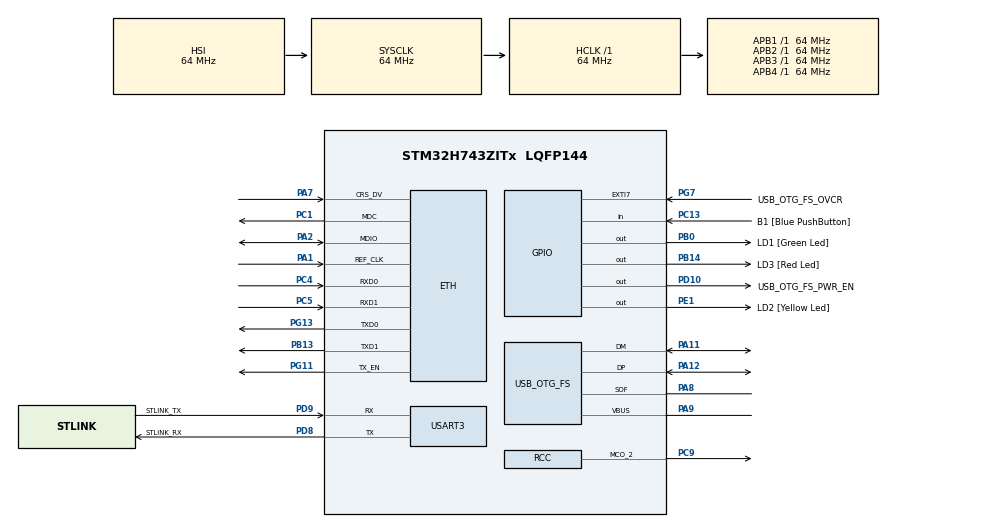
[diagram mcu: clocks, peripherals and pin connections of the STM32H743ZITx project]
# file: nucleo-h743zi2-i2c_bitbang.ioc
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ETH.MediaInterface=HAL_ETH_RMII_MODE
Mcu.Family=STM32H7
Mcu.Name=STM32H743ZITx
Mcu.Package=LQFP144
NVIC.PriorityGroup=NVIC_PRIORITYGROUP_4
PA1.Mode=RMII
PA1.Signal=ETH_REF_CLK
PA11.Mode=Device_Only
PA11.Signal=USB_OTG_FS_DM
PA12.Mode=Device_Only
PA12.Signal=USB_OTG_FS_DP
PA2.Mode=RMII
PA2.Signal=ETH_MDIO
PA7.Mode=RMII
PA7.Signal=ETH_CRS_DV
PA8.Mode=Activate_SOF_FS
PA8.Signal=USB_OTG_FS_SOF
PA9.Mode=Activate_VBUS
PA9.Signal=USB_OTG_FS_VBUS
PB0.GPIO_Label=LD1 [Green Led]
PB0.Signal=GPIO_Output
PB13.Mode=RMII
PB13.Signal=ETH_TXD1
PB14.GPIO_Label=LD3 [Red Led]
PB14.Signal=GPIO_Output
PC1.Mode=RMII
PC1.Signal=ETH_MDC
PC13.GPIO_Label=B1 [Blue PushButton]
PC13.Signal=GPIO_Input
PC14-OSC32_IN\ (OSC32_IN).Mode=LSE-External-Oscillator
PC14-OSC32_IN\ (OSC32_IN).Signal=RCC_OSC32_IN
PC15-OSC32_OUT\ (OSC32_OUT).Mode=LSE-External-Oscillator
PC15-OSC32_OUT\ (OSC32_OUT).Signal=RCC_OSC32_OUT
PC4.Mode=RMII
PC4.Signal=ETH_RXD0
PC5.Mode=RMII
PC5.Signal=ETH_RXD1
PC9.Mode=Clock-out-2
PC9.Signal=RCC_MCO_2
PD10.GPIO_Label=USB_OTG_FS_PWR_EN
PD10.Signal=GPIO_Output
PD8.GPIO_Label=STLINK_RX
PD8.Mode=Asynchronous
PD8.Signal=USART3_TX
PD9.GPIO_Label=STLINK_TX
PD9.Mode=Asynchronous
PD9.Signal=USART3_RX
PE1.GPIO_Label=LD2 [Yellow Led]
PE1.Signal=GPIO_Output
PG11.Mode=RMII
PG11.Signal=ETH_TX_EN
PG13.Mode=RMII
PG13.Signal=ETH_TXD0
PG7.GPIO_Label=USB_OTG_FS_OVCR
PG7.Signal=GPXTI7
PH0-OSC_IN\ (PH0).Mode=HSE-External-Clock-Source
PH0-OSC_IN\ (PH0).Signal=RCC_OSC_IN
PH1-OSC_OUT\ (PH1).Signal=RCC_OSC_OUT
ProjectManager.HeapSize=0x200
ProjectManager.StackSize=0x400
ProjectManager.TargetToolchain=STM32CubeIDE
RCC.ADCFreq_Value=16125000
RCC.APB1Freq_Value=64000000
RCC.APB2Freq_Value=64000000
RCC.APB3Freq_Value=64000000
RCC.APB4Freq_Value=64000000
RCC.CortexFreq_Value=64000000
RCC.DIVM1=1
RCC.DIVN1=24
RCC.DIVQ1=4
RCC.HCLKFreq_Value=64000000
RCC.HSE_VALUE=8000000
RCC.PLLFRACN=0
RCC.PWR_Regulator_Voltage_Scale=PWR_REGULATOR_VOLTAGE_SCALE2
RCC.RCC_MCO2Source=RCC_MCO2SOURCE_HSE
RCC.SYSCLKFreq_VALUE=64000000
RCC.USBFreq_Value=48000000
USART3.VirtualMode-Asynchronous=VM_ASYNC
USB_OTG_FS.VirtualMode=Device_Only
board=NUCLEO-H743ZI2

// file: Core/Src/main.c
/* USER CODE BEGIN Header */
/**
  ******************************************************************************
  * @file           : main.c
  * @brief          : Main program body
  ******************************************************************************
  * @attention
  *
  * <h2><center>&copy; Copyright (c) 2022 STMicroelectronics.
  * All rights reserved.</center></h2>
  *
  * This software component is licensed by ST under BSD 3-Clause license,
  * the "License"; You may not use this file except in compliance with the
  * License. You may obtain a copy of the License at:
  *                        opensource.org/licenses/BSD-3-Clause
  *
  ******************************************************************************
  */
/* USER CODE END Header */
#include "main.h"
#include "string.h"

/* USER CODE BEGIN Includes */
#include "i2c_bitbang.h"

/* USER CODE END Includes */

#if defined ( __ICCARM__ ) /*!< IAR Compiler */

#pragma location=0x30040000
ETH_DMADescTypeDef  DMARxDscrTab[ETH_RX_DESC_CNT]; /* Ethernet Rx DMA Descriptors */
#pragma location=0x30040060
ETH_DMADescTypeDef  DMATxDscrTab[ETH_TX_DESC_CNT]; /* Ethernet Tx DMA Descriptors */
#pragma location=0x30040200
uint8_t Rx_Buff[ETH_RX_DESC_CNT][ETH_MAX_PACKET_SIZE]; /* Ethernet Receive Buffers */

#elif defined ( __CC_ARM )  /* MDK ARM Compiler */

__attribute__((at(0x30040000))) ETH_DMADescTypeDef  DMARxDscrTab[ETH_RX_DESC_CNT]; /* Ethernet Rx DMA Descriptors */
__attribute__((at(0x30040060))) ETH_DMADescTypeDef  DMATxDscrTab[ETH_TX_DESC_CNT]; /* Ethernet Tx DMA Descriptors */
__attribute__((at(0x30040200))) uint8_t Rx_Buff[ETH_RX_DESC_CNT][ETH_MAX_PACKET_SIZE]; /* Ethernet Receive Buffer */

#elif defined ( __GNUC__ ) /* GNU Compiler */

ETH_DMADescTypeDef DMARxDscrTab[ETH_RX_DESC_CNT] __attribute__((section(".RxDecripSection"))); /* Ethernet Rx DMA Descriptors */
ETH_DMADescTypeDef DMATxDscrTab[ETH_TX_DESC_CNT] __attribute__((section(".TxDecripSection")));   /* Ethernet Tx DMA Descriptors */
uint8_t Rx_Buff[ETH_RX_DESC_CNT][ETH_MAX_PACKET_SIZE] __attribute__((section(".RxArraySection"))); /* Ethernet Receive Buffers */

#endif

ETH_TxPacketConfig TxConfig;

ETH_HandleTypeDef heth;

UART_HandleTypeDef huart3;

PCD_HandleTypeDef hpcd_USB_OTG_FS;

void SystemClock_Config(void);
static void MX_GPIO_Init(void);
static void MX_ETH_Init(void);
static void MX_USART3_UART_Init(void);
static void MX_USB_OTG_FS_PCD_Init(void);
/* USER CODE BEGIN PFP */
// ==================== uart => printf substitute =====================
#ifdef __GNUC__
/* With GCC, small printf (option LD Linker->Libraries->Small printf
   set to 'Yes') calls __io_putchar() */
#define PUTCHAR_PROTOTYPE int __io_putchar(int ch)
#define GETCHAR_PROTOTYPE int __io_getchar()
#else
#define PUTCHAR_PROTOTYPE int fputc(int ch, FILE *f)
#endif /* __GNUC__ */
// ============== end substitute =============

/* USER CODE END PFP */

int main(void)
{

  /* MCU Configuration--------------------------------------------------------*/

  /* Reset of all peripherals, Initializes the Flash interface and the Systick. */
  HAL_Init();

  /* Configure the system clock */
  SystemClock_Config();

  /* Initialize all configured peripherals */
  MX_GPIO_Init();
  MX_ETH_Init();
  MX_USART3_UART_Init();
  MX_USB_OTG_FS_PCD_Init();
  /* USER CODE BEGIN 2 */

  i2c_bitbang_init();

  printf("UART\n");

  /* USER CODE END 2 */

  /* Infinite loop */
  /* USER CODE BEGIN WHILE */
  while (1)
  {
	  // toggle_test();
	  uint8_t slaveAddress = 0x68;
	  uint8_t reg = 0x02;
	  uint8_t *data;
	  *data = 0x00;

	  read_reg(slaveAddress, reg, data);
	  printf("data: %X\n", reg, *data);
	  HAL_Delay(500);

    /* USER CODE END WHILE */

  }
}

void SystemClock_Config(void)
{
  RCC_OscInitTypeDef RCC_OscInitStruct = {0};
  RCC_ClkInitTypeDef RCC_ClkInitStruct = {0};

  /** Supply configuration update enable
  */
  HAL_PWREx_ConfigSupply(PWR_LDO_SUPPLY);
  /** Configure the main internal regulator output voltage
  */
  __HAL_PWR_VOLTAGESCALING_CONFIG(PWR_REGULATOR_VOLTAGE_SCALE2);

  while(!__HAL_PWR_GET_FLAG(PWR_FLAG_VOSRDY)) {}
  /** Initializes the RCC Oscillators according to the specified parameters
  * in the RCC_OscInitTypeDef structure.
  */
  RCC_OscInitStruct.OscillatorType = RCC_OSCILLATORTYPE_HSI|RCC_OSCILLATORTYPE_HSE;
  RCC_OscInitStruct.HSEState = RCC_HSE_BYPASS;
  RCC_OscInitStruct.HSIState = RCC_HSI_DIV1;
  RCC_OscInitStruct.HSICalibrationValue = RCC_HSICALIBRATION_DEFAULT;
  RCC_OscInitStruct.PLL.PLLState = RCC_PLL_ON;
  RCC_OscInitStruct.PLL.PLLSource = RCC_PLLSOURCE_HSE;
  RCC_OscInitStruct.PLL.PLLM = 1;
  RCC_OscInitStruct.PLL.PLLN = 24;
  RCC_OscInitStruct.PLL.PLLP = 2;
  RCC_OscInitStruct.PLL.PLLQ = 4;
  RCC_OscInitStruct.PLL.PLLR = 2;
  RCC_OscInitStruct.PLL.PLLRGE = RCC_PLL1VCIRANGE_3;
  RCC_OscInitStruct.PLL.PLLVCOSEL = RCC_PLL1VCOWIDE;
  RCC_OscInitStruct.PLL.PLLFRACN = 0;
  if (HAL_RCC_OscConfig(&RCC_OscInitStruct) != HAL_OK)
  {
    Error_Handler();
  }
  /** Initializes the CPU, AHB and APB buses clocks
  */
  RCC_ClkInitStruct.ClockType = RCC_CLOCKTYPE_HCLK|RCC_CLOCKTYPE_SYSCLK
                              |RCC_CLOCKTYPE_PCLK1|RCC_CLOCKTYPE_PCLK2
                              |RCC_CLOCKTYPE_D3PCLK1|RCC_CLOCKTYPE_D1PCLK1;
  RCC_ClkInitStruct.SYSCLKSource = RCC_SYSCLKSOURCE_HSI;
  RCC_ClkInitStruct.SYSCLKDivider = RCC_SYSCLK_DIV1;
  RCC_ClkInitStruct.AHBCLKDivider = RCC_HCLK_DIV1;
  RCC_ClkInitStruct.APB3CLKDivider = RCC_APB3_DIV1;
  RCC_ClkInitStruct.APB1CLKDivider = RCC_APB1_DIV1;
  RCC_ClkInitStruct.APB2CLKDivider = RCC_APB2_DIV1;
  RCC_ClkInitStruct.APB4CLKDivider = RCC_APB4_DIV1;

  if (HAL_RCC_ClockConfig(&RCC_ClkInitStruct, FLASH_LATENCY_1) != HAL_OK)
  {
    Error_Handler();
  }
  HAL_RCC_MCOConfig(RCC_MCO2, RCC_MCO2SOURCE_HSE, RCC_MCODIV_1);
}

static void MX_ETH_Init(void)
{

   static uint8_t MACAddr[6];

  heth.Instance = ETH;
  MACAddr[0] = 0x00;
  MACAddr[1] = 0x80;
  MACAddr[2] = 0xE1;
  MACAddr[3] = 0x00;
  MACAddr[4] = 0x00;
  MACAddr[5] = 0x00;
  heth.Init.MACAddr = &MACAddr[0];
  heth.Init.MediaInterface = HAL_ETH_RMII_MODE;
  heth.Init.TxDesc = DMATxDscrTab;
  heth.Init.RxDesc = DMARxDscrTab;
  heth.Init.RxBuffLen = 1524;

  if (HAL_ETH_Init(&heth) != HAL_OK)
  {
    Error_Handler();
  }

  memset(&TxConfig, 0 , sizeof(ETH_TxPacketConfig));
  TxConfig.Attributes = ETH_TX_PACKETS_FEATURES_CSUM | ETH_TX_PACKETS_FEATURES_CRCPAD;
  TxConfig.ChecksumCtrl = ETH_CHECKSUM_IPHDR_PAYLOAD_INSERT_PHDR_CALC;
  TxConfig.CRCPadCtrl = ETH_CRC_PAD_INSERT;

}

static void MX_USART3_UART_Init(void)
{

  huart3.Instance = USART3;
  huart3.Init.BaudRate = 115200;
  huart3.Init.WordLength = UART_WORDLENGTH_8B;
  huart3.Init.StopBits = UART_STOPBITS_1;
  huart3.Init.Parity = UART_PARITY_NONE;
  huart3.Init.Mode = UART_MODE_TX_RX;
  huart3.Init.HwFlowCtl = UART_HWCONTROL_NONE;
  huart3.Init.OverSampling = UART_OVERSAMPLING_16;
  huart3.Init.OneBitSampling = UART_ONE_BIT_SAMPLE_DISABLE;
  huart3.Init.ClockPrescaler = UART_PRESCALER_DIV1;
  huart3.AdvancedInit.AdvFeatureInit = UART_ADVFEATURE_NO_INIT;
  if (HAL_UART_Init(&huart3) != HAL_OK)
  {
    Error_Handler();
  }
  if (HAL_UARTEx_SetTxFifoThreshold(&huart3, UART_TXFIFO_THRESHOLD_1_8) != HAL_OK)
  {
    Error_Handler();
  }
  if (HAL_UARTEx_SetRxFifoThreshold(&huart3, UART_RXFIFO_THRESHOLD_1_8) != HAL_OK)
  {
    Error_Handler();
  }
  if (HAL_UARTEx_DisableFifoMode(&huart3) != HAL_OK)
  {
    Error_Handler();
  }

}

static void MX_USB_OTG_FS_PCD_Init(void)
{

  hpcd_USB_OTG_FS.Instance = USB_OTG_FS;
  hpcd_USB_OTG_FS.Init.dev_endpoints = 9;
  hpcd_USB_OTG_FS.Init.speed = PCD_SPEED_FULL;
  hpcd_USB_OTG_FS.Init.dma_enable = DISABLE;
  hpcd_USB_OTG_FS.Init.phy_itface = PCD_PHY_EMBEDDED;
  hpcd_USB_OTG_FS.Init.Sof_enable = ENABLE;
  hpcd_USB_OTG_FS.Init.low_power_enable = DISABLE;
  hpcd_USB_OTG_FS.Init.lpm_enable = DISABLE;
  hpcd_USB_OTG_FS.Init.battery_charging_enable = ENABLE;
  hpcd_USB_OTG_FS.Init.vbus_sensing_enable = ENABLE;
  hpcd_USB_OTG_FS.Init.use_dedicated_ep1 = DISABLE;
  if (HAL_PCD_Init(&hpcd_USB_OTG_FS) != HAL_OK)
  {
    Error_Handler();
  }

}

static void MX_GPIO_Init(void)
{
  GPIO_InitTypeDef GPIO_InitStruct = {0};

  /* GPIO Ports Clock Enable */
  __HAL_RCC_GPIOC_CLK_ENABLE();
  __HAL_RCC_GPIOH_CLK_ENABLE();
  __HAL_RCC_GPIOA_CLK_ENABLE();
  __HAL_RCC_GPIOB_CLK_ENABLE();
  __HAL_RCC_GPIOD_CLK_ENABLE();
  __HAL_RCC_GPIOG_CLK_ENABLE();
  __HAL_RCC_GPIOE_CLK_ENABLE();

  /*Configure GPIO pin Output Level */
  HAL_GPIO_WritePin(GPIOB, LD1_Pin|LD3_Pin, GPIO_PIN_RESET);

  /*Configure GPIO pin Output Level */
  HAL_GPIO_WritePin(USB_OTG_FS_PWR_EN_GPIO_Port, USB_OTG_FS_PWR_EN_Pin, GPIO_PIN_RESET);

  /*Configure GPIO pin Output Level */
  HAL_GPIO_WritePin(LD2_GPIO_Port, LD2_Pin, GPIO_PIN_RESET);

  /*Configure GPIO pin : B1_Pin */
  GPIO_InitStruct.Pin = B1_Pin;
  GPIO_InitStruct.Mode = GPIO_MODE_INPUT;
  GPIO_InitStruct.Pull = GPIO_NOPULL;
  HAL_GPIO_Init(B1_GPIO_Port, &GPIO_InitStruct);

  /*Configure GPIO pins : LD1_Pin LD3_Pin */
  GPIO_InitStruct.Pin = LD1_Pin|LD3_Pin;
  GPIO_InitStruct.Mode = GPIO_MODE_OUTPUT_PP;
  GPIO_InitStruct.Pull = GPIO_NOPULL;
  GPIO_InitStruct.Speed = GPIO_SPEED_FREQ_LOW;
  HAL_GPIO_Init(GPIOB, &GPIO_InitStruct);

  /*Configure GPIO pin : USB_OTG_FS_PWR_EN_Pin */
  GPIO_InitStruct.Pin = USB_OTG_FS_PWR_EN_Pin;
  GPIO_InitStruct.Mode = GPIO_MODE_OUTPUT_PP;
  GPIO_InitStruct.Pull = GPIO_NOPULL;
  GPIO_InitStruct.Speed = GPIO_SPEED_FREQ_LOW;
  HAL_GPIO_Init(USB_OTG_FS_PWR_EN_GPIO_Port, &GPIO_InitStruct);

  /*Configure GPIO pin : USB_OTG_FS_OVCR_Pin */
  GPIO_InitStruct.Pin = USB_OTG_FS_OVCR_Pin;
  GPIO_InitStruct.Mode = GPIO_MODE_IT_RISING;
  GPIO_InitStruct.Pull = GPIO_NOPULL;
  HAL_GPIO_Init(USB_OTG_FS_OVCR_GPIO_Port, &GPIO_InitStruct);

  /*Configure GPIO pin : PC9 */
  GPIO_InitStruct.Pin = GPIO_PIN_9;
  GPIO_InitStruct.Mode = GPIO_MODE_AF_PP;
  GPIO_InitStruct.Pull = GPIO_NOPULL;
  GPIO_InitStruct.Speed = GPIO_SPEED_FREQ_LOW;
  GPIO_InitStruct.Alternate = GPIO_AF0_MCO;
  HAL_GPIO_Init(GPIOC, &GPIO_InitStruct);

  /*Configure GPIO pin : LD2_Pin */
  GPIO_InitStruct.Pin = LD2_Pin;
  GPIO_InitStruct.Mode = GPIO_MODE_OUTPUT_PP;
  GPIO_InitStruct.Pull = GPIO_NOPULL;
  GPIO_InitStruct.Speed = GPIO_SPEED_FREQ_LOW;
  HAL_GPIO_Init(LD2_GPIO_Port, &GPIO_InitStruct);

}

/* USER CODE BEGIN 4 */
void toggle_test(void){
	HAL_Delay(100);
	clear_scl();
	clear_sda();
	printf("reset: reading SCL %d\n", read_scl() );
	printf("reset: reading SDA %d\n", read_sda() );

	HAL_Delay(500);
	set_scl();
	set_sda();

	printf("set: reading SCL %d\n", read_scl() );
	printf("set: reading SDA %d\n", read_sda() );
}

// ==================== uart => printf substitute =====================

/**
  * @brief  Retargets the C library printf and scanf functions to the UART.
  * @param  None
  * @retval None
  */

PUTCHAR_PROTOTYPE
{
  /* Place your implementation of fputc here */
  /* e.g. write a character to the LPUART1 and Loop until the end of transmission */
  HAL_UART_Transmit(&huart3, (uint8_t *)&ch, 1, 0xFFFF);

  return ch;
}

GETCHAR_PROTOTYPE
{
	uint8_t ch;

	HAL_UART_Receive(&huart3, &ch, 1, 0xFFFF);

	return ch;
}

// ============== end ====================
/* USER CODE END 4 */

void Error_Handler(void)
{
  __disable_irq();
  while (1)
  {
  }
}

/************************ (C) COPYRIGHT STMicroelectronics *****END OF FILE****/
